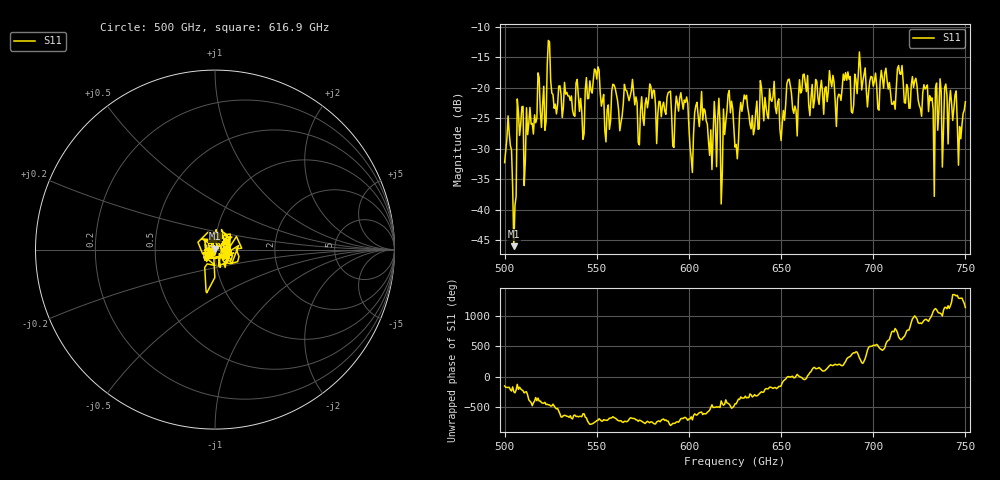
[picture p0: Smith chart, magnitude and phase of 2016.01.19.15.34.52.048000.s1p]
!Created with skrf (http://scikit-rf.org).
# GHz S RI R 50.0
!freq ReS11 ImS11
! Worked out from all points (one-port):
!   401 points, 500 GHz to 750 GHz, reference 50 ohm
!   lowest |S11| = -46.0 dB at 505 GHz (marker M1), VSWR 1.01, Z = 49.8 + j0.459 ohm
!   |S11| at or under -10 dB: start of sweep to end of sweep
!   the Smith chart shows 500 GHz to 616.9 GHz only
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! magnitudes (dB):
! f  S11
! 500 GHz  -32.3
! 502.5 GHz  -27.4
! 505 GHz  -46.0
! 508.1 GHz  -27.8
! 511.9 GHz  -23.3
! 521.2 GHz  -19.7
! 524.4 GHz  -12.5
! 531.2 GHz  -24.8
! 541.9 GHz  -23.9
! 550 GHz  -18.5
! 555.6 GHz  -23.6
! 559.4 GHz  -19.5
! 562.5 GHz  -27.0
! 593.8 GHz  -22.4
! 601.2 GHz  -31.5
! 607.5 GHz  -25.3
! 618.8 GHz  -23.5
! 622.5 GHz  -24.1
! 625 GHz  -29.7
! 630.6 GHz  -21.8
! 656.2 GHz  -23.4
! 687.5 GHz  -18.1
! 710.6 GHz  -22.7
! 714.4 GHz  -17.7
! 718.8 GHz  -20.0
! 743.8 GHz  -23.4
! 746.9 GHz  -26.3
! 750 GHz  -22.3
